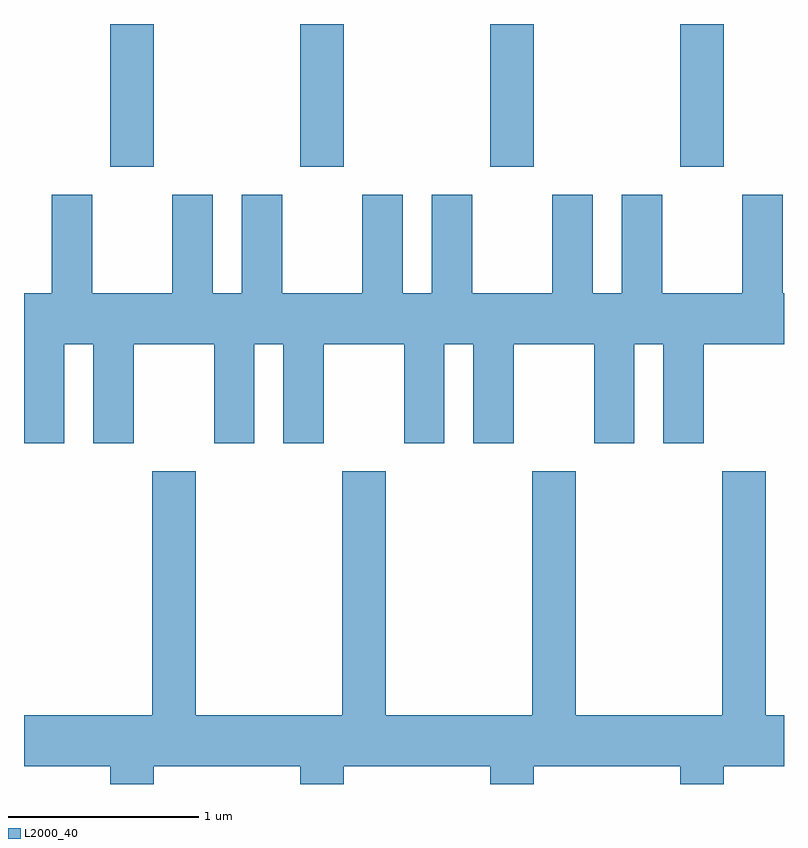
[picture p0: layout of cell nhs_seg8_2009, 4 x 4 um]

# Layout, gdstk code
import gdstk
lib = gdstk.Library(unit=1e-6, precision=1e-09)
def R(c, l, rs):  # rectangles x0, y0, x1, y1
    for r in rs: c.add(gdstk.rectangle(r[:2], r[2:], *l))
def A(c, l, x, y, w, h, nx, ny, dx, dy):  # array of equal rectangles
    R(c, l, [(x+i*dx, y+j*dy, x+i*dx+w, y+j*dy+h) for i in range(nx) for j in range(ny)])
def P(c, l, *ps):  # polygons
    for p in ps: c.add(gdstk.Polygon(p, *l))
L2000_40 = (2000, 40)

nhs_seg8_2009 = lib.new_cell('nhs_seg8_2009')
A(nhs_seg8_2009, L2000_40, 246.066, 1819.591, 0.228, 0.751, 4, 1, 1, 0)
P(nhs_seg8_2009, L2000_40, [(245.824,1818.656),(245.976,1818.656),(245.976,1818.136),(246.189,1818.136),(246.189,1818.656),(246.611,1818.656),(246.611,1818.136),(246.824,1818.136),(246.824,1818.656),(246.976,1818.656),(246.976,1818.136),(247.189,1818.136),(247.189,1818.656),(247.611,1818.656),(247.611,1818.136),(247.824,1818.136),(247.824,1818.656),(247.976,1818.656),(247.976,1818.136),(248.189,1818.136),(248.189,1818.656),(248.611,1818.656),(248.611,1818.136),(248.824,1818.136),(248.824,1818.656),(248.976,1818.656),(248.976,1818.136),(249.189,1818.136),(249.189,1818.656),(249.611,1818.656),(249.611,1818.924),(249.604,1818.924),(249.604,1819.444),(249.391,1819.444),(249.391,1818.924),(248.969,1818.924),(248.969,1819.444),(248.756,1819.444),(248.756,1818.924),(248.604,1818.924),(248.604,1819.444),(248.391,1819.444),(248.391,1818.924),(247.969,1818.924),(247.969,1819.444),(247.756,1819.444),(247.756,1818.924),(247.604,1818.924),(247.604,1819.444),(247.391,1819.444),(247.391,1818.924),(246.969,1818.924),(246.969,1819.444),(246.756,1819.444),(246.756,1818.924),(246.604,1818.924),(246.604,1819.444),(246.391,1819.444),(246.391,1818.924),(245.969,1818.924),(245.969,1819.444),(245.756,1819.444),(245.756,1818.924),(245.611,1818.924),(245.611,1818.136),(245.824,1818.136)],
  [(246.294,1816.436),(247.066,1816.436),(247.066,1816.342),(247.294,1816.342),(247.294,1816.436),(248.066,1816.436),(248.066,1816.342),(248.294,1816.342),(248.294,1816.436),(249.066,1816.436),(249.066,1816.342),(249.294,1816.342),(249.294,1816.436),(249.611,1816.436),(249.611,1816.704),(249.514,1816.704),(249.514,1817.989),(249.286,1817.989),(249.286,1816.704),(248.514,1816.704),(248.514,1817.989),(248.286,1817.989),(248.286,1816.704),(247.514,1816.704),(247.514,1817.989),(247.286,1817.989),(247.286,1816.704),(246.514,1816.704),(246.514,1817.989),(246.286,1817.989),(246.286,1816.704),(245.611,1816.704),(245.611,1816.436),(246.066,1816.436),(246.066,1816.342),(246.294,1816.342)])

lib.write_gds('nhs_seg8_2009.gds')
